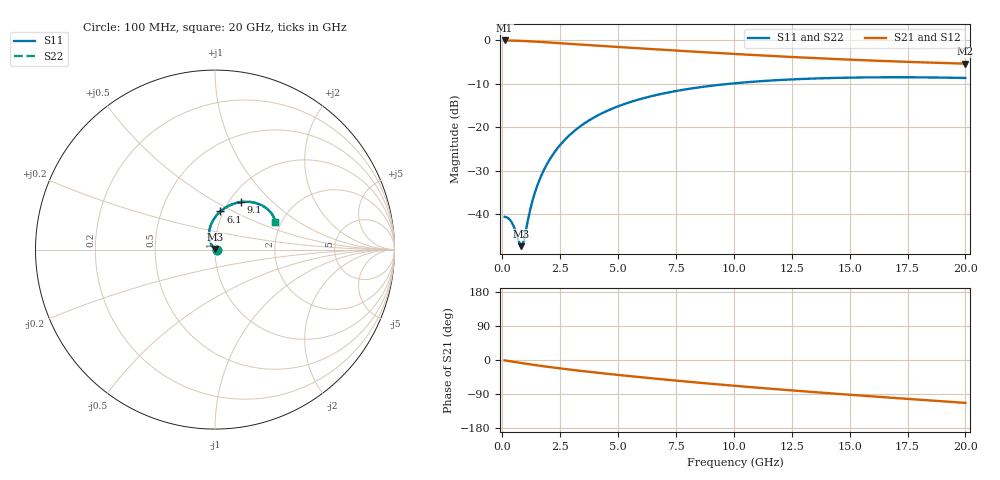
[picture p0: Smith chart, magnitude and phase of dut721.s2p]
! Touchstone file exported from HFSS 2024.1.0
!  File:  C:/UserFiles/LocalFiles/RDL_TSV_Batchsim/temp_RDL_TSV_721_1779890825.aedt
!  Generated:  10:19:31 PM May 27, 2026
!  Design:  RDL_TSV
!  Project:  temp_RDL_TSV_721_1779890825
!  Setup:  Setup1
!  Solution:  Sweep
! Variables:
!  dtsv = 9.73um
!  hbump = 3um
!  htsv = 54.42um
!  ldown = 111.56um
!  lrdl = 289.83um
!  p = 40
!  p1 = 40.71um
!  rhole = 10um
!  subl = 1494um
!  t = 450um
!  tdown = 4.75um
!  trdl = 4.04um
!  viad = 10um
!  wdown = 18.03um
!  wrdl = 14.01um
!  xbump = 18um
# GHz S MA R 50.000000
! Terminal data exported
! Port[1] = TM1_1_T1
! Port[2] = TM1_4_T1
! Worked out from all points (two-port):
!   200 points, 100 MHz to 20 GHz, reference 50 ohm
!   highest |S21| = -0.08 dB at 100 MHz (marker M1); lowest = -5.4 dB at 20 GHz (marker M2)
!   |S21| within 3 dB of the highest: start of sweep to 9.675 GHz
!   lowest |S11| = -47.4 dB at 800 MHz (marker M3), VSWR 1.01, Z = 50.2 + j0.353 ohm
!   |S11| at or under -10 dB: start of sweep to 9.896 GHz
!   |S22| runs from -47.4 to -8.5 dB; largest |S21 - S12| = 9.9e-15
!   S11 on the Smith chart (normalised r, x): 100 MHz: 1.02, +0.00; 6.1 GHz: 0.97, +0.43; 9.1 GHz: 1.13, +0.66; 20 GHz: 1.85, +0.65
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0.1  0.009295 2.6  0.9904 -1.0  0.9904 -1.0  0.009295 2.6
! Gamma 0 0 0 0
! Port Impedance 50 0 50 0
0.3  0.008758 6.7  0.9886 -3.0  0.9886 -3.0  0.008756 6.7
0.4  0.008094 9.0  0.9873 -4.0  0.9873 -4.0  0.00809 9.0
0.5  0.007166 12.8  0.9857 -4.9  0.9857 -4.9  0.007161 12.8
0.8  0.004268 55.3  0.9796 -7.8  0.9796 -7.8  0.004265 55.5
0.9  0.004607 83.7  0.9771 -8.7  0.9771 -8.7  0.004612 83.9
1.2  0.01104 122.7  0.9685 -11.5  0.9685 -11.5  0.01107 122.8
1.4  0.01734 127.6  0.962 -13.3  0.962 -13.3  0.01737 127.6
1.6  0.02446 128.2  0.955 -15.0  0.955 -15.0  0.02451 128.3
1.8  0.03219 127.2  0.9478 -16.7  0.9478 -16.7  0.03225 127.2
2.1  0.04464 124.3  0.9365 -19.1  0.9365 -19.1  0.04472 124.3
2.5  0.06228 119.5  0.9213 -22.2  0.9213 -22.2  0.06239 119.5
3  0.08514 113.2  0.9023 -25.9  0.9023 -25.9  0.08529 113.3
3.5  0.1081 107.2  0.884 -29.5  0.884 -29.5  0.1083 107.2
4.7  0.1608 94.3  0.8427 -37.5  0.8427 -37.5  0.1611 94.3
6.1  0.2149 81.9  0.7986 -46.2  0.7986 -46.2  0.2152 81.9
6.8  0.2384 76.5  0.7779 -50.3  0.7779 -50.3  0.2388 76.5
9.1  0.3001 61.7  0.7154 -63.2  0.7154 -63.2  0.3006 61.8
10.1  0.32 56.4  0.691 -68.4  0.691 -68.4  0.3205 56.5
13.4  0.3611 42.1  0.6224 -84.5  0.6224 -84.5  0.3617 42.2
16.7  0.3737 31.8  0.5717 -99.2  0.5717 -99.2  0.3744 31.8
20  0.3668 24.4  0.5361 -113.2  0.5361 -113.2  0.3676 24.5
